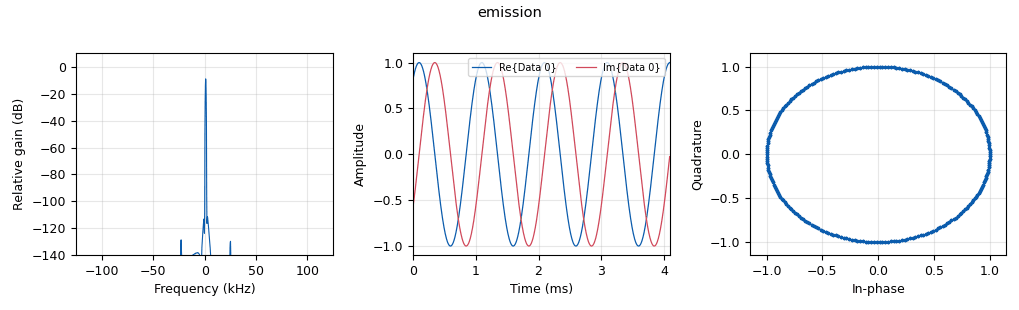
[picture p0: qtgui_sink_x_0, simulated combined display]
options:
  parameters:
    generate_options: qt_gui
    generator_class_name: PythonQtGuiGenerator
    generator_module: gnuradio.grc.workflows.python_qt_gui
    id: mon_vna
    output_language: python
    title: Not titled yet
  states: {}

blocks:
- name: center_freq
  id: variable
  parameters:
    value: 100*10**6
  states: {state: disabled}
- name: center_freq
  id: variable_qtgui_range
  parameters:
    start: 100*10**6
    step: 1*10**6
    stop: 5*10**9
    value: 100*10**6
  states: {}
- name: samp_rate
  id: variable
  parameters:
    value: '250000'
  states: {}
- name: analog_sig_source_x_0
  id: analog_sig_source_x
  parameters:
    amp: '1'
    comment: |-
      for f in range(f_start, f_stop, f_step):
          usrp_sink.set_center_freq(f)
          usrp_source.set_center_freq(f)
          sleep(0.05)  # temps de stabilisation
          measure_amplitude_phase()
          save_result(f)
    freq: '1000'
    offset: '0'
    phase: '0'
    samp_rate: samp_rate
    type: complex
    waveform: analog.GR_COS_WAVE
  states: {}
- name: qtgui_sink_x_0
  id: qtgui_sink_x
  parameters:
    bw: samp_rate
    fc: '0'
    fftsize: '1024'
    name: '"emission"'
    type: complex
  states: {}
- name: qtgui_sink_x_1
  id: qtgui_sink_x
  parameters:
    bw: samp_rate
    fc: '1000000'
    fftsize: '1024'
    name: '"reception"'
    type: complex
  states: {}
- name: uhd_usrp_sink_0
  id: uhd_usrp_sink
  parameters:
    ant0: '"TX/RX"'
    bw0: samp_rate
    center_freq0: center_freq
    dev_addr: '"serial=322F67E"'
    gain0: '-30'
    samp_rate: samp_rate
    sync: sync
    type: fc32
  states: {}
- name: uhd_usrp_source_1
  id: uhd_usrp_source
  parameters:
    ant0: '"RX2"'
    bw0: samp_rate
    center_freq0: center_freq
    dev_addr: '"serial=322F67E"'
    rx_agc0: Enabled
    samp_rate: samp_rate
    sync: sync
    type: fc32
  states: {}

connections:
- [analog_sig_source_x_0, '0', qtgui_sink_x_0, '0']
- [analog_sig_source_x_0, '0', uhd_usrp_sink_0, '0']
- [uhd_usrp_source_1, '0', qtgui_sink_x_1, '0']

metadata:
  file_format: 1
  grc_version: v3.11.0.0git-1029-g3c48f5e2
